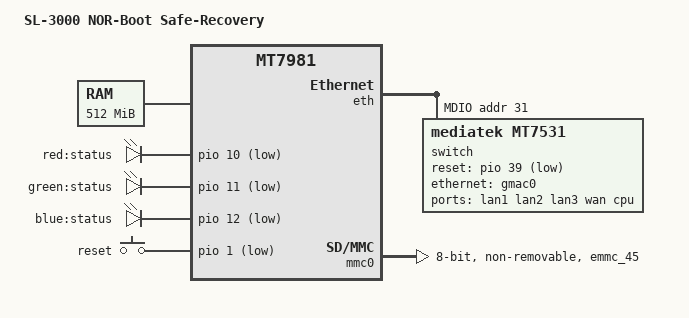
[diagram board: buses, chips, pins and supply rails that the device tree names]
/dts-v1/;
#include "mt7981.dtsi"
#include <dt-bindings/gpio/gpio.h>
#include <dt-bindings/input/input.h>

/ {
	model = "SL-3000 NOR-Boot Safe-Recovery";
	compatible = "sl,3000-emmc", "mediatek,mt7981";

	chosen {
		/* 物理对齐：PARTLABEL 必须匹配 filogic.mk 中的 -N production */
		/* 增加 rw 参数确保根文件系统可写，物理锁定 console 输出 */
		bootargs = "console=ttyS0,115200n1 loglevel=8 earlycon=uart8250,mmio32,0x11002000 root=PARTLABEL=production rootwait rw rootfstype=f2fs,squashfs";
	};

	/* 物理锁定：救砖模式强制定义 512MB 运行内存 */
	/* 待救砖成功后，将 0x20000000 改为 0x40000000 即可解锁 1024M */
	memory@40000000 {
		device_type = "memory";
		reg = <0 0x40000000 0 0x20000000>;
	};

	leds {
		compatible = "gpio-leds";
		status_red_led: led-0 { label = "red:status"; gpios = <&pio 10 GPIO_ACTIVE_LOW>; };
		status_green_led: led-1 { label = "green:status"; gpios = <&pio 11 GPIO_ACTIVE_LOW>; };
		status_blue_led: led-2 { label = "blue:status"; gpios = <&pio 12 GPIO_ACTIVE_LOW>; };
	};

	gpio-keys {
		compatible = "gpio-keys";
		reset { 
			label = "reset"; 
			linux,code = <KEY_RESTART>; 
			gpios = <&pio 1 GPIO_ACTIVE_LOW>; 
			debounce-interval = <60>;
		};
	};
};

/* 网络物理对齐：2.5G 网口与 MT7531 交换机 */
&eth {
	status = "okay";
	gmac0: mac@0 {
		compatible = "mediatek,eth-mac";
		reg = <0>;
		phy-mode = "2500base-x";
		fixed-link { speed = <2500>; full-duplex; pause; };
	};

	gmac1: mac@1 { status = "disabled"; };

	mdio: mdio-bus {
		#address-cells = <1>;
		#size-cells = <0>;
		switch@0 {
			compatible = "mediatek,mt7531";
			reg = <31>;
			reset-gpios = <&pio 39 GPIO_ACTIVE_LOW>;
			reset-delay-us = <10000>;
			ports {
				#address-cells = <1>;
				#size-cells = <0>;
				port@0 { reg = <0>; label = "lan1"; };
				port@1 { reg = <1>; label = "lan2"; };
				port@2 { reg = <2>; label = "lan3"; };
				port@3 { reg = <3>; label = "wan"; };
				port@6 {
					reg = <6>; label = "cpu"; ethernet = <&gmac0>;
					phy-mode = "2500base-x";
					fixed-link { speed = <2500>; full-duplex; pause; };
				};
			};
		};
	};
};

/* eMMC 物理对齐：8位总线模式 */
&mmc0 {
	bus-width = <8>;
	cap-mmc-highspeed;
	max-frequency = <52000000>;
	non-removable;
	pinctrl-names = "default", "state_uhs";
	pinctrl-0 = <&mmc0_pins_default>;
	pinctrl-1 = <&mmc0_pins_uhs>;
	status = "okay";
};

&pio {
	mmc0_pins_default: mmc0-pins-default { mux { function = "flash"; groups = "emmc_45"; }; };
	mmc0_pins_uhs: mmc0-pins-uhs { mux { function = "flash"; groups = "emmc_45"; }; };
};
